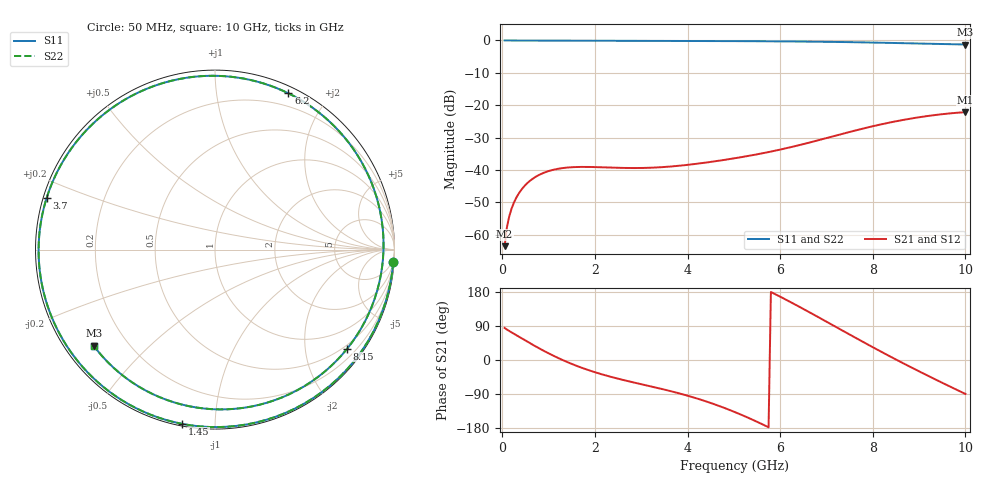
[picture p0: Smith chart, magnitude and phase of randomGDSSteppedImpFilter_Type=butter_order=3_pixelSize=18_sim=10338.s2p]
! freq	dB(S11)	phase(S11)	dB(S12)	phase(S12)
!  dB(S21)	phase(S21)	dB(S22)	phase(S22)
!S-par simulation data
#  GHz  S  DB  R 50
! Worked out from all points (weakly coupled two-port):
!   200 points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, 50 MHz to 10 GHz, reference 50 ohm
!   highest |S21| = -22.17 dB at 10 GHz (marker M1); lowest = -63.5 dB at 50 MHz (marker M2)
!   lowest |S11| = -1.3 dB at 10 GHz (marker M3), VSWR 13.53, Z = 4.14 - j17.3 ohm
!   |S11| at or under -10 dB: nowhere
!   |S22| runs from -1.3 to 0.0 dB; largest |S21 - S12| = 0
!   S11 on the Smith chart (normalised r, x): 50 MHz: 2, -28; 1.45 GHz: 0.01, -0.83; 3.7 GHz: 0.01, +0.15; 6.2 GHz: 0.07, +1.57; 8.15 GHz: 0.41, -2.95; 10 GHz: 0.08, -0.35
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0.05  -0.03 -4.1  -63.51 84.6  -63.51 84.6  -0.03 -4.1
0.1  -0.04 -7.9  -57.68 80.3  -57.68 80.3  -0.04 -7.9
0.2  -0.05 -15.7  -51.94 72.9  -51.94 72.9  -0.05 -15.7
0.45  -0.06 -34.7  -45.42 54.9  -45.42 54.9  -0.06 -34.7
0.95  -0.08 -70.1  -40.57 20.8  -40.57 20.8  -0.08 -70.1
1.45  -0.10 -100.6  -39.20 -7.8  -39.20 -7.8  -0.10 -100.6
1.75  -0.11 -116.6  -39.05 -22.0  -39.05 -22.0  -0.11 -116.6
2.55  -0.13 -153.2  -39.35 -50.9  -39.35 -50.9  -0.13 -153.2
3.4  -0.16 173.9  -39.17 -75.1  -39.17 -75.1  -0.16 173.9
3.7  -0.17 162.9  -38.86 -84.2  -38.86 -84.2  -0.17 162.9
4.35  -0.19 139.3  -37.81 -107.2  -37.81 -107.2  -0.19 139.3
5.05  -0.24 113.0  -36.31 -138.8  -36.31 -138.8  -0.24 113.0
5.65  -0.28 88.9  -34.76 -171.6  -34.76 -171.6  -0.28 88.9
6.2  -0.34 64.9  -33.07 154.4  -33.07 154.4  -0.34 64.8
6.7  -0.40 41.1  -31.29 121.4  -31.29 121.4  -0.40 41.1
7.45  -0.54 2.2  -28.45 70.6  -28.45 70.6  -0.54 2.1
8.15  -0.72 -36.9  -26.02 23.9  -26.02 23.9  -0.72 -36.9
8.35  -0.78 -48.2  -25.41 10.9  -25.41 10.9  -0.78 -48.3
8.75  -0.91 -71.1  -24.32 -14.5  -24.32 -14.5  -0.91 -71.2
9.15  -1.04 -93.9  -23.41 -39.1  -23.41 -39.1  -1.04 -94.0
9.55  -1.16 -116.5  -22.70 -63.1  -22.70 -63.1  -1.16 -116.5
10  -1.29 -141.6  -22.17 -89.6  -22.17 -89.6  -1.29 -141.6
